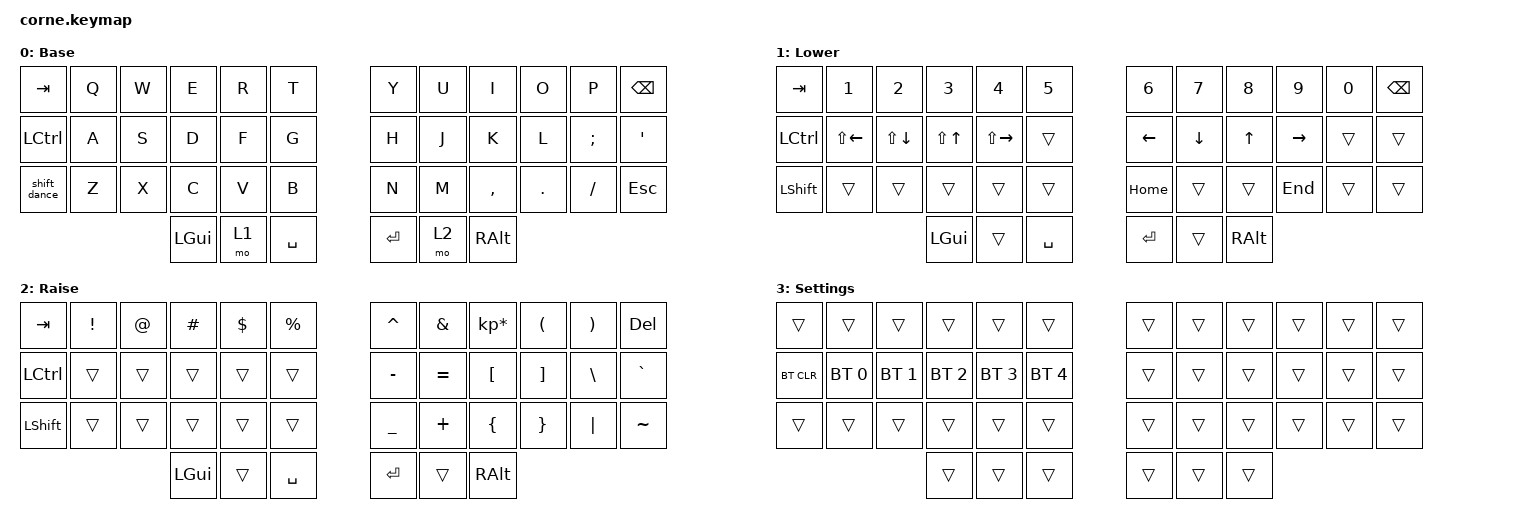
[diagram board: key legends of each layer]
/*
 * Copyright (c) 2020 The ZMK Contributors
 *
 * SPDX-License-Identifier: MIT
 */

#include <behaviors.dtsi>
#include <dt-bindings/zmk/bt.h>
#include <dt-bindings/zmk/keys.h>

/ {
    behaviors {
        shift_dance: shift_dance {
            compatible = "zmk,behavior-tap-dance";
            label = "SHIFT_DANCE";
            #binding-cells = <0>;
            bindings = <&kp LEFT_SHIFT>, <&kp CAPS>;

            tapping-term-ms = <350>;
        };

        bt_clear_hold: bt_clear_hold {
            compatible = "zmk,behavior-hold-tap";
            label = "BT_CLEAR_HOLD";
            bindings = <&bt>, <&none>;

            #binding-cells = <2>;
            flavor = "tap-preferred";
            tapping-term-ms = <5000>;
        };
    };

    keymap {
        compatible = "zmk,keymap";

        default_layer {
            // -----------------------------------------------------------------------------------------
            // |  TAB |  Q  |  W  |  E  |  R  |  T  |   |  Y  |  U   |  I  |  O  |  P  | BKSP |
            // | CTRL |  A  |  S  |  D  |  F  |  G  |   |  H  |  J   |  K  |  L  |  ;  |  '   |
            // | SHFT |  Z  |  X  |  C  |  V  |  B  |   |  N  |  M   |  ,  |  .  |  /  | ESC  |
            //                    | GUI | LWR | SPC |   | ENT | RSE  | ALT |

            display-name = "Base";
            bindings = <
&kp TAB       &kp Q  &kp W  &kp E     &kp R  &kp T        &kp Y    &kp U  &kp I      &kp O    &kp P     &kp BSPC
&kp LCTRL     &kp A  &kp S  &kp D     &kp F  &kp G        &kp H    &kp J  &kp K      &kp L    &kp SEMI  &kp SQT
&shift_dance  &kp Z  &kp X  &kp C     &kp V  &kp B        &kp N    &kp M  &kp COMMA  &kp DOT  &kp FSLH  &kp ESC
                            &kp LGUI  &mo 1  &kp SPACE    &kp RET  &mo 2  &kp RALT
            >;
        };

        lower_layer {
            // -----------------------------------------------------------------------------------------
            // |  TAB |  1  |  2  |  3  |  4  |  5  |   |  6  |  7  |  8  |  9  |  0  | BKSP |
            // | BTCLR| BT1 | BT2 | BT3 | BT4 | BT5 |   | LFT | DWN |  UP | RGT |     |      |
            // | SHFT |     |     |     |     |     |   |     |     |     |     |     |      |
            //                    | GUI |     | SPC |   | ENT |     | ALT |

            display-name = "Lower";
            bindings = <
&kp TAB           &kp N1              &kp N2        &kp N3      &kp N4         &kp N5       &kp N6    &kp N7    &kp N8    &kp N9     &kp N0  &kp BACKSPACE
&kp LEFT_CONTROL  &kp LS(LEFT_ARROW)  &kp LS(DOWN)  &kp LS(UP)  &kp LS(RIGHT)  &trans       &kp LEFT  &kp DOWN  &kp UP    &kp RIGHT  &trans  &trans
&kp LSHFT         &trans              &trans        &trans      &trans         &trans       &kp HOME  &trans    &trans    &kp END    &trans  &trans
                                                    &kp LGUI    &trans         &kp SPACE    &kp RET   &trans    &kp RALT
            >;
        };

        raise_layer {
            // -----------------------------------------------------------------------------------------
            // |  TAB |  !  |  @  |  #  |  $  |  %  |   |  ^  |  &  |  *  |  (  |  )  | BKSP |
            // | CTRL |     |     |     |     |     |   |  -  |  =  |  [  |  ]  |  \  |  `   |
            // | SHFT |     |     |     |     |     |   |  _  |  +  |  {  |  }  | "|" |  ~   |
            //                    | GUI |     | SPC |   | ENT |     | ALT |

            display-name = "Raise";
            bindings = <
&kp TAB    &kp EXCL  &kp AT  &kp HASH  &kp DLLR  &kp PRCNT    &kp CARET  &kp AMPS   &kp KP_MULTIPLY  &kp LPAR  &kp RPAR  &kp DELETE
&kp LCTRL  &trans    &trans  &trans    &trans    &trans       &kp MINUS  &kp EQUAL  &kp LBKT         &kp RBKT  &kp BSLH  &kp GRAVE
&kp LSHFT  &trans    &trans  &trans    &trans    &trans       &kp UNDER  &kp PLUS   &kp LBRC         &kp RBRC  &kp PIPE  &kp TILDE
                             &kp LGUI  &trans    &kp SPACE    &kp RET    &trans     &kp RALT
            >;
        };

        settings_layer {
            display-name = "Settings";
            bindings = <
&trans      &trans        &trans        &trans        &trans        &trans          &trans  &trans  &trans  &trans  &trans  &trans
&bt BT_CLR  &bt BT_SEL 0  &bt BT_SEL 1  &bt BT_SEL 2  &bt BT_SEL 3  &bt BT_SEL 4    &trans  &trans  &trans  &trans  &trans  &trans
&trans      &trans        &trans        &trans        &trans        &trans          &trans  &trans  &trans  &trans  &trans  &trans
                                        &trans        &trans        &trans          &trans  &trans  &trans
            >;
        };
    };

    conditional_layers {
        compatible = "zmk,conditional-layers";

        settings_layer {
            if-layers = <1 2>;
            then-layer = <3>;
        };
    };
};
